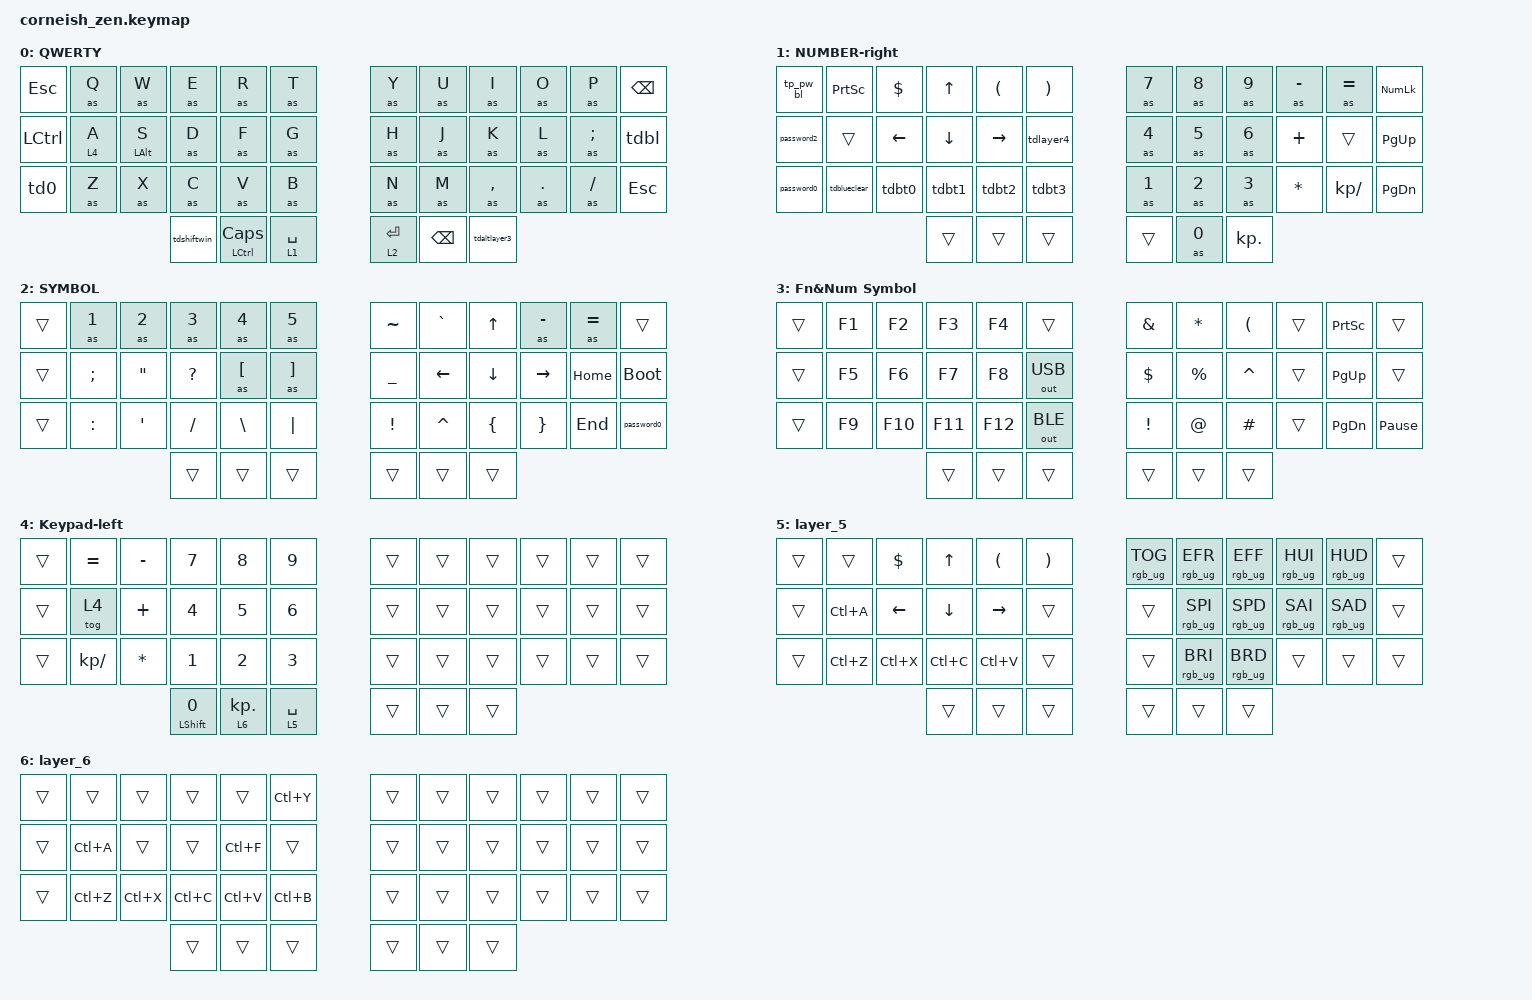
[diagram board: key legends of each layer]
/*
 * Copyright (c) 2020 The ZMK Contributors
 *
 * SPDX-License-Identifier: MIT
 */

#include <behaviors.dtsi>
#include <dt-bindings/zmk/bt.h>
#include <dt-bindings/zmk/keys.h>
#include <dt-bindings/zmk/outputs.h>
#include <dt-bindings/zmk/rgb.h>

/ {
    chosen {
        zmk,matrix_transform = &default_transform;

        // zmk,matrix_transform = &five_column_transform;
    };
};

/ {
    behaviors {
        td0: td0 {
            compatible = "zmk,behavior-tap-dance";
            label = "TD0";
            #binding-cells = <0>;
            bindings = <&kp LEFT_SHIFT>, <&kp CAPS>;
        };

        hm: hm {
            compatible = "zmk,behavior-hold-tap";
            label = "HM";
            bindings = <&kp>, <&kp>;

            #binding-cells = <2>;
            tapping-term-ms = <200>;
            flavor = "balanced";
        };

        as_ht: autoshift_hold_tap {
            compatible = "zmk,behavior-hold-tap";
            label = "AUTOSHIFT_HOLD_TAP";
            #binding-cells = <2>;
            tapping-term-ms = <160>;
            bindings = <&shifted>, <&kp>;

            flavor = "tap-preferred";
        };

        tdshiftwin: tdshiftwin {
            compatible = "zmk,behavior-tap-dance";
            label = "TDSHIFTWIN";
            #binding-cells = <0>;
            bindings = <&kp LEFT_SHIFT>, <&kp LEFT_WIN>;
        };

        tdaltlayer3: tdaltlayer3 {
            compatible = "zmk,behavior-tap-dance";
            label = "TDALTLAYER3";
            #binding-cells = <0>;
            bindings = <&kp LEFT_ALT>, <&mo 3>;
        };

        tdlayer4: tdlayer4 {
            compatible = "zmk,behavior-tap-dance";
            label = "TDLAYER4";
            #binding-cells = <0>;
            bindings = <&trans>, <&tog 4>;
        };

        tdbl: tdbl {
            compatible = "zmk,behavior-tap-dance";
            label = "TDBL";
            #binding-cells = <0>;
            bindings = <&none>, <&bootloader>;
        };

        tdblueclear: tdblueclear {
            compatible = "zmk,behavior-tap-dance";
            label = "TDBLUECLEAR";
            #binding-cells = <0>;
            bindings = <&trans>, <&bt BT_CLR_ALL>;
        };

        tdbt2: tdbt2 {
            compatible = "zmk,behavior-tap-dance";
            label = "TDBT2";
            #binding-cells = <0>;
            bindings = <&trans>, <&bt BT_SEL 2>;
        };

        tdbt1: tdbt1 {
            compatible = "zmk,behavior-tap-dance";
            label = "TDBT1";
            #binding-cells = <0>;
            bindings = <&trans>, <&bt BT_SEL 1>;
        };

        tdbt0: tdbt0 {
            compatible = "zmk,behavior-tap-dance";
            label = "TDBT0";
            #binding-cells = <0>;
            bindings = <&trans>, <&bt BT_SEL 0>;
        };

        tp_pw_bl: tp_pw_bl {
            compatible = "zmk,behavior-tap-dance";
            label = "TP_PW_BL";
            #binding-cells = <0>;
            bindings = <&password3VPN>, <&bootloader>;
        };

        tdbt3: tdbt3 {
            compatible = "zmk,behavior-tap-dance";
            label = "TDBT3";
            #binding-cells = <0>;
            bindings = <&none>, <&bt BT_SEL 3>;
        };
    };

    macros {
        shifted: macro_shifted_kp {
            #binding-cells = <1>;
            label = "MACRO_SHIFTED_KP";
            compatible = "zmk,behavior-macro-one-param";
            bindings =
                <&macro_press>,
                <&kp LSHFT &macro_param_1to1>,
                <&macro_tap>,
                <&kp MACRO_PLACEHOLDER>,
                <&macro_release>,
                <&kp LSHFT>;
        };

        as: autoshift {
            compatible = "zmk,behavior-macro-one-param";
            #binding-cells = <1>;
            label = "AUTOSHIFT_KP";
            bindings =
                <&macro_press>,
                <&macro_param_1to1 &macro_param_1to2 &as_ht MACRO_PLACEHOLDER MACRO_PLACEHOLDER>,
                <&macro_pause_for_release>,
                <&macro_release>,
                <&macro_param_1to1 &macro_param_1to2 &as_ht MACRO_PLACEHOLDER MACRO_PLACEHOLDER>;
        };

        password0: PASSWORD1 {
            compatible = "zmk,behavior-macro";
            #binding-cells = <0>;
            bindings = <&kp N1 &kp N3 &kp I &kp N4 &kp N3 &kp N1 &kp S &kp U &kp M &kp M &kp E &kp R &kp LS(R) &kp LS(O) &kp LS(S) &kp LS(E)>;
            label = "PASSWORD1";
            wait-ms = <3>;
        };

        password1: password2 {
            compatible = "zmk,behavior-macro";
            #binding-cells = <0>;
            bindings = <&kp N1 &kp N3 &kp I &kp N4 &kp N3 &kp N1 &kp W &kp I &kp L &kp D &kp LS(L) &kp LS(O) &kp LS(V) &kp LS(E)>;
            label = "PASSWORD2";
            wait-ms = <3>;
        };

        password2: password3 {
            compatible = "zmk,behavior-macro";
            #binding-cells = <0>;
            bindings = <&none &kp N1 &kp N3 &kp I &kp N4 &kp N3 &kp N1 &kp LS(S) &kp LS(U) &kp LS(M) &kp LS(M) &kp LS(E) &kp LS(R) &kp R &kp O &kp S &kp E>;
            label = "PASSWORD3";
            wait-ms = <3>;
        };

        password3VPN: password3VPN {
            compatible = "zmk,behavior-macro";
            #binding-cells = <0>;
            bindings = <&kp N1 &kp N3 &kp EXCL &kp N4 &kp N3 &kp N1 &kp W &kp I &kp L &kp D &kp LS(L) &kp LS(O) &kp LS(V) &kp LS(E)>;
            label = "PASSWORD3VPN";
        };
    };

    combos {
        compatible = "zmk,combos";

        bsp-left {
            bindings = <&kp BACKSPACE>;
            key-positions = <4 3>;
            timeout-ms = <30>;
        };

        delete-left {
            bindings = <&kp DELETE>;
            key-positions = <16 15>;
        };

        delete-right {
            bindings = <&kp DELETE>;
            key-positions = <20 19>;
        };

        enter-left {
            bindings = <&kp ENTER>;
            key-positions = <38 16>;
        };

        tab {
            bindings = <&kp TAB>;
            key-positions = <15 37>;
        };

        escape-left {
            bindings = <&kp ESCAPE>;
            key-positions = <1 38>;
        };
    };

    keymap {
        compatible = "zmk,keymap";

        default_layer {
            display-name = "QWERTY";

            // --------------------------------------------------------------------------------
            // |  TAB |  Q  |  W  |  E  |  R  |  T  |   |  Y  |  U   |  I  |  O  |  P  | BKSP |
            // | CTRL |  A  |  S  |  D  |  F  |  G  |   |  H  |  J   |  K  |  L  |  ;  |  '   | 
            // | SHFT |  Z  |  X  |  C  |  V  |  B  |   |  N  |  M   |  ,  |  .  |  /  | ESC  |
            //                    | GUI | LWR | SPC |   | ENT | RSE  | ALT |

            bindings = <
&kp ESCAPE  &as Q    &as W           &as E        &as R                  &as T          &as Y        &as U          &as I         &as O    &as P     &kp BSPC
&kp LCTRL   &lt 4 A  &hm LEFT_ALT S  &as D        &as F                  &as G          &as H        &as J          &as K         &as L    &as SEMI  &tdbl
&td0        &as Z    &as X           &as C        &as V                  &as B          &as N        &as M          &as COMMA     &as DOT  &as FSLH  &kp ESC
                                     &tdshiftwin  &mt LEFT_CONTROL CAPS  &lt 1 SPACE    &lt 2 ENTER  &kp BACKSPACE  &tdaltlayer3
            >;
        };

        lower_layer {
            display-name = "NUMBER-right";

            // -----------------------------------------------------------------------------------------
            // |  TAB |  1  |  2  |  3  |  4  |  5  |   |  6  |  7  |  8  |  9  |  0  | BKSP |
            // | BTCLR| BT1 | BT2 | BT3 | BT4 | BT5 |   | LFT | DWN |  UP | RGT |     |      |
            // | SHFT |     |     |     |     |     |   |     |     |     |     |     |      |
            //                    | GUI |     | SPC |   | ENT |     | ALT |

            bindings = <
&tp_pw_bl   &kp PRINTSCREEN  &kp DOLLAR  &kp UP    &kp LEFT_PARENTHESIS  &kp RIGHT_PARENTHESIS    &as N7  &as N8  &as N9      &as MINUS  &as EQUAL      &kp KP_NUMLOCK
&password2  &trans           &kp LEFT    &kp DOWN  &kp RIGHT             &tdlayer4                &as N4  &as N5  &as N6      &kp PLUS   &trans         &kp PG_UP
&password0  &tdblueclear     &tdbt0      &tdbt1    &tdbt2                &tdbt3                   &as N1  &as N2  &as N3      &kp ASTRK  &kp KP_DIVIDE  &kp PG_DN
                                         &trans    &trans                &trans                   &trans  &as N0  &kp KP_DOT
            >;
        };

        raise_layer {
            display-name = "SYMBOL";

            // -----------------------------------------------------------------------------------------
            // |  TAB |  !  |  @  |  #  |  $  |  %  |   |  ^  |  &  |  *  |  (  |  )  | BKSP |
            // | CTRL |     |     |     |     |     |   |  -  |  =  |  [  |  ]  |  \  |  `   |
            // | SHFT |     |     |     |     |     |   |  _  |  +  |  {  |  }  | "|" |  ~   |
            //                    | GUI |     | SPC |   | ENT |     | ALT |

            bindings = <
&trans  &as N1         &as N2             &as N3        &as N4            &as N5               &kp TILDE        &kp GRAVE  &kp UP    &as MINUS  &as EQUAL  &trans
&trans  &kp SEMICOLON  &kp DOUBLE_QUOTES  &kp QUESTION  &as LEFT_BRACKET  &as RIGHT_BRACKET    &kp UNDERSCORE   &kp LEFT   &kp DOWN  &kp RIGHT  &kp HOME   &bootloader
&trans  &kp COLON      &kp SQT            &kp SLASH     &kp BACKSLASH     &kp PIPE             &kp EXCLAMATION  &kp CARET  &kp LBRC  &kp RBRC   &kp END    &password0
                                          &trans        &trans            &trans               &trans           &trans     &trans
            >;
        };

        layer_3 {
            display-name = "Fn&Num Symbol";
            bindings = <
&trans  &kp F1  &kp F2   &kp F3   &kp F4   &trans          &kp AMPERSAND    &kp ASTERISK  &kp LEFT_PARENTHESIS  &trans  &kp PRINTSCREEN  &trans
&trans  &kp F5  &kp F6   &kp F7   &kp F8   &out OUT_USB    &kp DOLLAR       &kp PRCNT     &kp CARET             &trans  &kp PAGE_UP      &trans
&trans  &kp F9  &kp F10  &kp F11  &kp F12  &out OUT_BLE    &kp EXCLAMATION  &kp AT_SIGN   &kp HASH              &trans  &kp PAGE_DOWN    &kp PAUSE_BREAK
                         &trans   &trans   &trans          &trans           &trans        &trans
            >;
        };

        layer_4 {
            bindings = <
&trans  &kp EQUAL      &kp MINUS     &kp N7             &kp N8        &kp N9         &trans  &trans  &trans  &trans  &trans  &trans
&trans  &tog 4         &kp PLUS      &kp N4             &kp N5        &kp N6         &trans  &trans  &trans  &trans  &trans  &trans
&trans  &kp KP_DIVIDE  &kp ASTERISK  &kp N1             &kp N2        &kp N3         &trans  &trans  &trans  &trans  &trans  &trans
                                     &hm LEFT_SHIFT N0  &lt 6 KP_DOT  &lt 5 SPACE    &trans  &trans  &trans
            >;

            label = "Keypad-left";
        };

        layer_5 {
            bindings = <
&trans  &trans     &kp DOLLAR  &kp UP          &kp LEFT_PARENTHESIS  &kp RIGHT_PARENTHESIS    &rgb_ug RGB_TOG  &rgb_ug RGB_EFR  &rgb_ug RGB_EFF  &rgb_ug RGB_HUI  &rgb_ug RGB_HUD  &trans
&trans  &kp LC(A)  &kp LEFT    &kp DOWN_ARROW  &kp RIGHT             &trans                   &trans           &rgb_ug RGB_SPI  &rgb_ug RGB_SPD  &rgb_ug RGB_SAI  &rgb_ug RGB_SAD  &trans
&trans  &kp LC(Z)  &kp LC(X)   &kp LC(C)       &kp LC(V)             &trans                   &trans           &rgb_ug RGB_BRI  &rgb_ug RGB_BRD  &trans           &trans           &trans
                               &trans          &trans                &trans                   &trans           &trans           &trans
            >;
        };

        layer_6 {
            bindings = <
&trans  &trans     &trans     &trans     &trans     &kp LC(Y)    &trans  &trans  &trans  &trans  &trans  &trans
&trans  &kp LC(A)  &trans     &trans     &kp LC(F)  &trans       &trans  &trans  &trans  &trans  &trans  &trans
&trans  &kp LC(Z)  &kp LC(X)  &kp LC(C)  &kp LC(V)  &kp LC(B)    &trans  &trans  &trans  &trans  &trans  &trans
                              &trans     &trans     &trans       &trans  &trans  &trans
            >;
        };
    };
};
